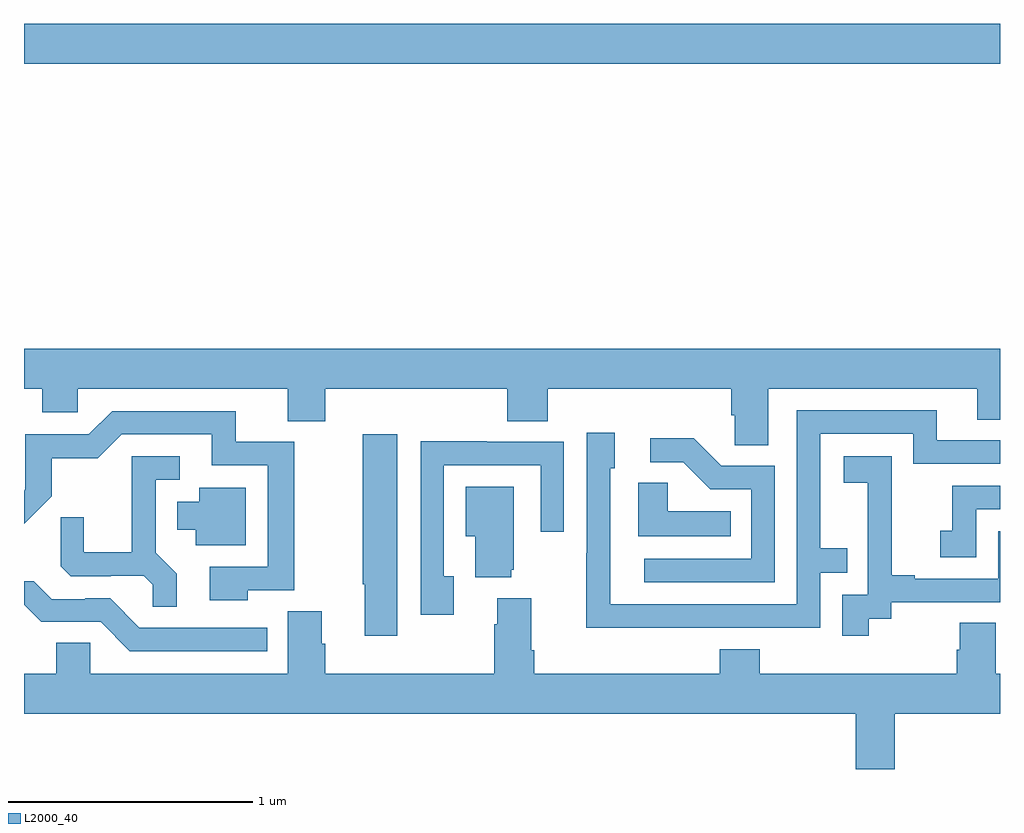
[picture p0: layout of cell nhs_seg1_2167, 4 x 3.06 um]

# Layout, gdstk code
import gdstk
lib = gdstk.Library(unit=1e-6, precision=1e-09)
def R(c, l, rs):  # rectangles x0, y0, x1, y1
    for r in rs: c.add(gdstk.rectangle(r[:2], r[2:], *l))
def P(c, l, *ps):  # polygons
    for p in ps: c.add(gdstk.Polygon(p, *l))
L2000_40 = (2000, 40)

nhs_seg1_2167 = lib.new_cell('nhs_seg1_2167')
R(nhs_seg1_2167, L2000_40, [(229,525.092,233,525.256)])
P(nhs_seg1_2167, L2000_40, [(232.051,523.76),(232.907,523.76),(232.907,523.633),(233,523.633),(233,523.924),(229,523.924),(229,523.76),(229.075,523.76),(229.075,523.662),(229.221,523.662),(229.221,523.76),(230.081,523.76),(230.081,523.627),(230.234,523.627),(230.234,523.76),(230.981,523.76),(230.981,523.627),(231.146,523.627),(231.146,523.76),(231.899,523.76),(231.899,523.651),(231.912,523.651),(231.912,523.528),(232.051,523.528)],
  [(231.767,522.78),(232.263,522.78),(232.263,523.005),(232.373,523.005),(232.373,523.106),(232.263,523.106),(232.263,523.575),(232.644,523.575),(232.644,523.452),(233,523.452),(233,523.548),(232.741,523.548),(232.741,523.671),(232.167,523.671),(232.167,522.876),(231.402,522.876),(231.402,523.434),(231.421,523.434),(231.421,523.579),(231.306,523.579),(231.306,523.085),(231.304,523.085),(231.304,522.779),(231.767,522.779)],
  [(229.917,522.933),(230.107,522.933),(230.107,523.542),(229.868,523.542),(229.868,523.668),(229.362,523.668),(229.266,523.572),(229.005,523.572),(229.005,523.347),(229,523.342),(229,523.205),(229.114,523.318),(229.114,523.474),(229.303,523.474),(229.401,523.572),(229.769,523.572),(229.769,523.446),(229.998,523.446),(229.998,523.029),(229.761,523.029),(229.761,522.893),(229.917,522.893)],
  [(230.53,523.573),(230.389,523.573),(230.389,522.959),(230.396,522.959),(230.396,522.746),(230.53,522.746)],
  [(232.077,523.443),(231.858,523.443),(231.745,523.556),(231.567,523.556),(231.567,523.458),(231.701,523.458),(231.812,523.347),(231.981,523.347),(231.981,523.062),(231.543,523.062),(231.543,522.966),(232.077,522.966)],
  [(230.761,522.99),(230.721,522.99),(230.721,523.446),(231.117,523.446),(231.117,523.173),(231.213,523.173),(231.213,523.542),(230.897,523.542),(230.897,523.544),(230.625,523.544),(230.625,522.834),(230.761,522.834)],
  [(232.462,522.817),(232.554,522.817),(232.554,522.885),(233,522.885),(233,523.176),(232.992,523.176),(232.992,522.981),(232.651,522.981),(232.651,522.994),(232.556,522.994),(232.556,523.277),(232.557,523.277),(232.557,523.483),(232.359,523.483),(232.359,523.373),(232.457,523.373),(232.457,523.145),(232.458,523.145),(232.458,522.915),(232.353,522.915),(232.353,522.746),(232.462,522.746)],
  [(229.625,523.001),(229.539,523.087),(229.539,523.386),(229.639,523.386),(229.639,523.482),(229.442,523.482),(229.442,523.09),(229.244,523.09),(229.244,523.233),(229.15,523.233),(229.15,523.031),(229.191,522.99),(229.356,522.99),(229.356,522.993),(229.49,522.993),(229.527,522.956),(229.527,522.865),(229.625,522.865)],
  [(231.896,523.258),(231.639,523.258),(231.639,523.373),(231.518,523.373),(231.518,523.154),(231.896,523.154)],
  [(232.902,523.266),(233,523.266),(233,523.362),(232.804,523.362),(232.804,523.177),(232.755,523.177),(232.755,523.068),(232.902,523.068)],
  [(230.996,523.017),(231.007,523.017),(231.007,523.357),(230.81,523.357),(230.81,523.154),(230.849,523.154),(230.849,522.986),(230.996,522.986)],
  [(229.909,523.354),(229.718,523.354),(229.718,523.297),(229.628,523.297),(229.628,523.181),(229.703,523.181),(229.703,523.118),(229.909,523.118)],
  [(229.996,522.78),(229.473,522.78),(229.353,522.9),(229.252,522.9),(229.252,522.897),(229.113,522.897),(229.04,522.97),(229,522.97),(229,522.873),(229.002,522.873),(229.071,522.804),(229.314,522.804),(229.434,522.684),(229.996,522.684)],
  [(232.569,522.428),(233,522.428),(233,522.592),(232.983,522.592),(232.983,522.8),(232.835,522.8),(232.835,522.69),(232.823,522.69),(232.823,522.592),(232.016,522.592),(232.016,522.691),(231.851,522.691),(231.851,522.592),(231.092,522.592),(231.092,522.688),(231.079,522.688),(231.079,522.901),(230.939,522.901),(230.939,522.794),(230.927,522.794),(230.927,522.592),(230.234,522.592),(230.234,522.714),(230.221,522.714),(230.221,522.848),(230.081,522.848),(230.081,522.592),(229.272,522.592),(229.272,522.719),(229.133,522.719),(229.133,522.592),(229,522.592),(229,522.428),(232.409,522.428),(232.409,522.199),(232.569,522.199)])

lib.write_gds('nhs_seg1_2167.gds')
